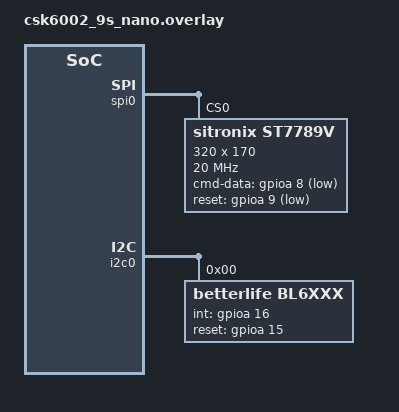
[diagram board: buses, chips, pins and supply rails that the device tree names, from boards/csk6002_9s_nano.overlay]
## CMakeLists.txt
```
# SPDX-License-Identifier: Apache-2.0

cmake_minimum_required(VERSION 3.20.0)

set(SUPPORT_BOARDS csk6012_nano csk6011a_nano)
if(NOT ${BOARD} IN_LIST SUPPORT_BOARDS)
    message("Please choose one of the following boards:")
    foreach(item ${SUPPORT_BOARDS})
        message(STATUS ${item})
    endforeach()
    message(FATAL_ERROR "\nThe project does not support the ${BOARD}")
endif()

find_package(Zephyr REQUIRED HINTS $ENV{ZEPHYR_BASE})
project(display)

target_sources(app PRIVATE src/main.c)
```

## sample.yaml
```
sample:
  description: Sample application for displays
  name: display_sample
tests:
  sample.board.csk6.display.kscan:
    platform_allow: csk6011a_nano
    tags: csk6
    harness: console
    timeout: 10
    harness_config:
      type: one_line
      regex:
        - "Display sample for"
```

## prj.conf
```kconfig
CONFIG_HEAP_MEM_POOL_SIZE=16384
CONFIG_LOG=y

CONFIG_GPIO=y

CONFIG_DISPLAY=y
CONFIG_SPI=y
CONFIG_ST7789V=y

CONFIG_KSCAN=y
CONFIG_I2C=y
CONFIG_KSCAN_FT5336=y
CONFIG_KSCAN_FT5336_INTERRUPT=y
```

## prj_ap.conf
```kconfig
CONFIG_HEAP_MEM_POOL_SIZE=16384
CONFIG_LOG=y
CONFIG_GPIO=y

CONFIG_SPI=y
CONFIG_SPI_CSK6=y

CONFIG_DISPLAY=y
CONFIG_ILI9341=y

CONFIG_DMA=y
CONFIG_DMA_CSK6=y
```

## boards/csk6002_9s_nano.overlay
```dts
&pinctrl{
        pinctrl_i2c0_scl_default: i2c0_scl_default{
                pinctrls = <I2C0_SCL_GPIOA_04>;
        };
        
        pinctrl_i2c0_sda_default: i2c0_sda_default{
                pinctrls = <I2C0_SDA_GPIOA_05>;
        };    

        pinctrl_spi0_sclk_default: spi0_sclk_default {
                pinctrls = < SPI0_CLK_GPIOA_19 >;
        };
        pinctrl_spi0_mosi_default: spi0_mosi_default {
                pinctrls = < SPI0_MOSI_GPIOA_18 >;
        };
        pinctrl_spi0_miso_default: spi0_miso_default {
                pinctrls = < SPI0_MISO_GPIOA_17 >;
        };
        pinctrl_spi0_cs_default: spi0_cs_default {
                pinctrls = < SPI0_CS_N_GPIOA_20 >;
        }; 
};

&spi0 {
status = "okay";
pinctrl-0 = <&pinctrl_spi0_sclk_default &pinctrl_spi0_mosi_default &pinctrl_spi0_miso_default &pinctrl_spi0_cs_default>; 
pinctrl-names = "default";

st7789v@0 {
    compatible = "sitronix,st7789v";
    label = "ST7789V";
    status = "okay";
    spi-max-frequency = <20000000>;
    reg = <0>;
    cmd-data-gpios = <&gpioa 8 1>;
    reset-gpios = <&gpioa 9 1>;
    width = <320>;
    height = <170>;
    x-offset = <0>;
    y-offset = <35>;
    // reg:0xBB
    vcom = <0x1e>;
    // reg:0xB7
    gctrl = <0x35>;
    // reg:0xC3
    vrhs = <0x0b>;
    // reg:0xC4
    vdvs = <0x20>;
    // reg:0x36
    mdac = <0xA3>;
    // reg:0x26
    gamma = <0x01>;
    // reg:0x3a
    colmod = <0x05>;
    // reg:0xc0
    lcm = <0x2c>;
    // reg:0xb2
    porch-param = [0c 0c 00 33 33];
    // reg:0xDF
    cmd2en-param = [5a 69 02 01];
    // reg:0xD0
    pwctrl1-param = [a4 a1];
    // reg:0xE0
    pvgam-param = [d0 06 0b 07 07 24 2e 32 46 37 13 13 2d 33];
    // reg:0xE1
    nvgam-param = [d0 02 06 09 08 05 29 44 42 38 14 14 2a 30];
    // reg:b0
    ram-param = [00 F0];
    // reg:b1
    rgb-param = [CD 08 14];
};
};

&i2c0 {
status = "okay";
pinctrl-0 = <&pinctrl_i2c0_scl_default &pinctrl_i2c0_sda_default>; 
pinctrl-names = "default";
bl6xxx@0 {
        compatible = "betterlife,bl6xxx";
        reg = <0>;
        label = "BL6XXX";
        status = "okay";
        int-gpios = <&gpioa 16 0>;
        reset-gpios = <&gpioa 15 0>;
};
};
```

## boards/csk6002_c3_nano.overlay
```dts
&pinctrl{
        pinctrl_i2c0_scl_default: i2c0_scl_default{
                pinctrls = <I2C0_SCL_GPIOA_04>;
        };
        
        pinctrl_i2c0_sda_default: i2c0_sda_default{
                pinctrls = <I2C0_SDA_GPIOA_05>;
        };    

        pinctrl_spi0_sclk_default: spi0_sclk_default {
                pinctrls = < SPI0_CLK_GPIOA_19 >;
        };
        pinctrl_spi0_mosi_default: spi0_mosi_default {
                pinctrls = < SPI0_MOSI_GPIOA_18 >;
        };
        pinctrl_spi0_miso_default: spi0_miso_default {
                pinctrls = < SPI0_MISO_GPIOA_17 >;
        };
        pinctrl_spi0_cs_default: spi0_cs_default {
                pinctrls = < SPI0_CS_N_GPIOA_20 >;
        }; 
};

&spi0 {
    status = "okay";
    pinctrl-0 = <&pinctrl_spi0_sclk_default &pinctrl_spi0_mosi_default &pinctrl_spi0_miso_default &pinctrl_spi0_cs_default>; 
    pinctrl-names = "default";
    
	st7789v@0 {
            compatible = "sitronix,st7789v";
            label = "ST7789V";
            status = "okay";
            spi-max-frequency = <20000000>;
            reg = <0>;
            cmd-data-gpios = <&gpioa 8 1>;
            reset-gpios = <&gpioa 9 1>;
            width = <320>;
            height = <170>;
            x-offset = <0>;
            y-offset = <35>;
            // reg:0xBB
            vcom = <0x1e>;
            // reg:0xB7
            gctrl = <0x35>;
            // reg:0xC3
            vrhs = <0x0b>;
            // reg:0xC4
            vdvs = <0x20>;
            // reg:0x36
            mdac = <0xA3>;
            // reg:0x26
            gamma = <0x01>;
            // reg:0x3a
            colmod = <0x05>;
            // reg:0xc0
            lcm = <0x2c>;
            // reg:0xb2
            porch-param = [0c 0c 00 33 33];
            // reg:0xDF
            cmd2en-param = [5a 69 02 01];
            // reg:0xD0
            pwctrl1-param = [a4 a1];
            // reg:0xE0
            pvgam-param = [d0 06 0b 07 07 24 2e 32 46 37 13 13 2d 33];
            // reg:0xE1
            nvgam-param = [d0 02 06 09 08 05 29 44 42 38 14 14 2a 30];
            // reg:b0
            ram-param = [00 F0];
            // reg:b1
            rgb-param = [CD 08 14];
	};
};

&i2c0 {
        status = "okay";
        pinctrl-0 = <&pinctrl_i2c0_scl_default &pinctrl_i2c0_sda_default>; 
        pinctrl-names = "default";
        bl6xxx@0 {
                compatible = "betterlife,bl6xxx";
                reg = <0>;
                label = "BL6XXX";
                status = "okay";
                int-gpios = <&gpioa 16 0>;
                reset-gpios = <&gpioa 15 0>;
        };
};
```

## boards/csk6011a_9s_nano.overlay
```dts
&pinctrl {
        pinctrl_i2c0_scl_default: i2c0_scl_default{
                pinctrls = <I2C0_SCL_GPIOA_04>;
        };
        
        pinctrl_i2c0_sda_default: i2c0_sda_default{
                pinctrls = <I2C0_SDA_GPIOA_05>;
        };    

        pinctrl_spi0_sclk_default: spi0_sclk_default {
                pinctrls = < SPI0_CLK_GPIOA_19 >;
        };
        pinctrl_spi0_mosi_default: spi0_mosi_default {
                pinctrls = < SPI0_MOSI_GPIOA_18 >;
        };
        pinctrl_spi0_miso_default: spi0_miso_default {
                pinctrls = < SPI0_MISO_GPIOA_17 >;
        };
        pinctrl_spi0_cs_default: spi0_cs_default {
                pinctrls = < SPI0_CS_N_GPIOA_20 >;
        }; 
};

&spi0 {
        status = "okay";
        pinctrl-0 = <&pinctrl_spi0_sclk_default &pinctrl_spi0_mosi_default &pinctrl_spi0_miso_default &pinctrl_spi0_cs_default>;
        pinctrl-names = "default";

        st7789v@0 {
                compatible = "sitronix,st7789v";
                label = "ST7789V";
                status = "okay";
                spi-max-frequency = <20000000>;
                reg = <0>;
                cmd-data-gpios = <&gpioa 8 1>;
                reset-gpios = <&gpioa 9 1>;
                width = <320>;
                height = <170>;
                x-offset = <0>;
                y-offset = <35>;
                // reg: 0xBB
                vcom = <0x1e>;
                // reg: 0xB7
                gctrl = <0x35>;
                // reg: 0xC3
                vrhs = <0x0b>;
                // reg: 0xC4
                vdvs = <0x20>;
                // reg: 0x36
                mdac = <0xA3>;
                // reg: 0x26
                gamma = <0x01>;
                // reg: 0x3a
                colmod = <0x05>;
                // reg: 0xc0
                lcm = <0x2c>;
                // reg: 0xb2
                porch-param = [ 0c 0c 00 33 33  ];
                // reg: 0xDF
                cmd2en-param = [ 5a 69 02 01  ];
                // reg: 0xD0
                pwctrl1-param = [ a4 a1  ];
                // reg: 0xE0
                pvgam-param = [ d0 06 0b 07 07 24 2e 32 46 37 13 13 2d 33  ];
                // reg: 0xE1
                nvgam-param = [ d0 02 06 09 08 05 29 44 42 38 14 14 2a 30  ];
                // reg: b0
                ram-param = [ 00 F0  ];
                // reg: b1
                rgb-param = [ CD 08 14  ];
        };
};

&i2c0 {
        status = "okay";
        pinctrl-0 = <&pinctrl_i2c0_scl_default &pinctrl_i2c0_sda_default>;
        pinctrl-names = "default";
        bl6xxx@0 {
                compatible = "betterlife,bl6xxx";
                reg = <0>;
                label = "BL6XXX";
                status = "okay";
                int-gpios = <&gpioa 16 0>;
                reset-gpios = <&gpioa 15 0>;
        };
};
```

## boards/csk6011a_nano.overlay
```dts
&csk6011a_nano_pinctrl {

    pinctrl_i2c0_scl_default: i2c0_scl_default{
        pinctrls = <I2C0_SCL_GPIOB_04>;
    };

    pinctrl_i2c0_sda_default: i2c0_sda_default{
        pinctrls = <I2C0_SDA_GPIOB_03>;
    };

    pinctrl_spi0_sclk_default: spi0_sclk_default {
        pinctrls = <&pinmuxb 1 6>;
    };
    pinctrl_spi0_mosi_default: spi0_mosi_default {
        pinctrls = <&pinmuxb 10 6>;
    };
    pinctrl_spi0_miso_default: spi0_miso_default {
        pinctrls = <&pinmuxa 17 6>;
    };
    pinctrl_spi0_cs_default: spi0_cs_default {
        pinctrls = <&pinmuxb 0 6>;
    };

};

&spi0 {
    status = "okay";
    pinctrl-0 = <&pinctrl_spi0_sclk_default &pinctrl_spi0_mosi_default &pinctrl_spi0_miso_default &pinctrl_spi0_cs_default>;
    pinctrl-names = "default";

    st7789v@0 {
        compatible = "sitronix,st7789v";
        label = "ST7789V";
        status = "okay";
        spi-max-frequency = <20000000>;
        reg = <0>;
        cmd-data-gpios = <&gpiob 2 1>;
        reset-gpios = <&gpioa 15 1>;
        width = <320>;
        height = <240>;
        x-offset = <0>;
        y-offset = <0>;
        // reg: 0xBB
        vcom = <0x1e>;
        // reg: 0xB7
        gctrl = <0x35>;
        // reg: 0xC3
        vrhs = <0x0b>;
        // reg: 0xC4
        vdvs = <0x20>;
        // reg: 0x36
        mdac = <0xA3>;
        // reg: 0x26
        gamma = <0x01>;
        // reg: 0x3a
        colmod = <0x05>;
        // reg: 0xc0
        lcm = <0x3c>;
        // reg: 0xb2
        porch-param = [ 0c 0c 00 33 33  ];
        // reg: 0xDF
        cmd2en-param = [ 5a 69 02 01  ];
        // reg: 0xD0
        pwctrl1-param = [ a4 a1  ];
        // reg: 0xE0
        pvgam-param = [ d0 06 0b 07 07 24 2e 32 46 37 13 13 2d 33  ];
        // reg: 0xE1
        nvgam-param = [ d0 02 06 09 08 05 29 44 42 38 14 14 2a 30  ];
        // reg: b0
        ram-param = [ 00 F0  ];
        // reg: b1
        rgb-param = [ CD 08 14  ];
    };
};

&i2c0 {
        status = "okay";
        pinctrl-0 = <&pinctrl_i2c0_scl_default &pinctrl_i2c0_sda_default>; 
        pinctrl-names = "default";
        ft5336@0 {
                compatible = "focaltech,ft5336";
                reg = <56>;
                label = "FT5336";
                status = "okay";
                int-gpios = <&gpiob 11 0>;
        };
};
```

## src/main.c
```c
/*
 * Copyright (c) 2023 Anhui(Shenzhen) Listenai Co., Ltd.
 *
 * SPDX-License-Identifier: Apache-2.0
 */

#include <logging/log.h>
LOG_MODULE_REGISTER(sample, LOG_LEVEL_INF);

#include <device.h>
#include <drivers/display.h>
#include <drivers/kscan.h>
#include <zephyr.h>

#if DT_NODE_HAS_STATUS(DT_INST(0, ilitek_ili9340), okay)
#define DISPLAY_DEV_NAME DT_LABEL(DT_INST(0, ilitek_ili9340))
#endif

#if DT_NODE_HAS_STATUS(DT_INST(0, solomon_ssd1306fb), okay)
#define DISPLAY_DEV_NAME DT_LABEL(DT_INST(0, solomon_ssd1306fb))
#endif

#if DT_NODE_HAS_STATUS(DT_INST(0, solomon_ssd16xxfb), okay)
#define DISPLAY_DEV_NAME DT_LABEL(DT_INST(0, solomon_ssd16xxfb))
#endif

#if DT_NODE_HAS_STATUS(DT_INST(0, sitronix_st7789v), okay)
#define DISPLAY_DEV_NAME DT_LABEL(DT_INST(0, sitronix_st7789v))
#endif

#if DT_NODE_HAS_STATUS(DT_INST(0, sitronix_st7735r), okay)
#define DISPLAY_DEV_NAME DT_LABEL(DT_INST(0, sitronix_st7735r))
#endif

#if DT_NODE_HAS_STATUS(DT_INST(0, fsl_imx6sx_lcdif), okay)
#define DISPLAY_DEV_NAME DT_LABEL(DT_INST(0, fsl_imx6sx_lcdif))
#endif

#if DT_NODE_HAS_STATUS(DT_INST(0, betterlife_bl6xxx), okay)
#define DISPLAY_KSAN_DEV_NAME DT_LABEL(DT_INST(0, betterlife_bl6xxx))
#endif

#if DT_NODE_HAS_STATUS(DT_INST(0, focaltech_ft5336), okay)
#define DISPLAY_KSAN_DEV_NAME DT_LABEL(DT_INST(0, focaltech_ft5336))
#endif

#ifdef CONFIG_SDL_DISPLAY_DEV_NAME
#define DISPLAY_DEV_NAME CONFIG_SDL_DISPLAY_DEV_NAME
#endif

#ifdef CONFIG_DUMMY_DISPLAY_DEV_NAME
#define DISPLAY_DEV_NAME CONFIG_DUMMY_DISPLAY_DEV_NAME
#endif

#ifdef CONFIG_ARCH_POSIX
#include "posix_board_if.h"
#endif

#ifdef CONFIG_ARCH_POSIX
#define RETURN_FROM_MAIN(exit_code) posix_exit_main(exit_code)
#else
#define RETURN_FROM_MAIN(exit_code) return
#endif

enum corner {
	TOP_LEFT,
	TOP_RIGHT,
	BOTTOM_RIGHT,
	BOTTOM_LEFT
};

typedef void (*fill_buffer)(enum corner corner, uint8_t grey, uint8_t *buf, size_t buf_size);

#ifdef CONFIG_ARCH_POSIX
static void posix_exit_main(int exit_code)
{
#if CONFIG_TEST
	if (exit_code == 0) {
		LOG_INF("PROJECT EXECUTION SUCCESSFUL");
	} else {
		LOG_INF("PROJECT EXECUTION FAILED");
	}
#endif
	posix_exit(exit_code);
}
#endif

static void k_callback(const struct device *dev, uint32_t row, uint32_t col, bool pressed)
{
	ARG_UNUSED(dev);
	printk("row = %u col = %u, pressed:%s\n", row, col, pressed ? "TRUE" : "FLASE");
}

void kscan_init(void)
{
	const struct device *kscan_dev = device_get_binding(DISPLAY_KSAN_DEV_NAME);

	if (!device_is_ready(kscan_dev)) {
		LOG_ERR("kscan device %s not ready", kscan_dev->name);
		return;
	}

	kscan_config(kscan_dev, k_callback);
	kscan_enable_callback(kscan_dev);
}

static void fill_buffer_argb8888(enum corner corner, uint8_t grey, uint8_t *buf, size_t buf_size)
{
	uint32_t color = 0;

	switch (corner) {
	case TOP_LEFT:
		color = 0x00FF0000u;
		break;
	case TOP_RIGHT:
		color = 0x0000FF00u;
		break;
	case BOTTOM_RIGHT:
		color = 0x000000FFu;
		break;
	case BOTTOM_LEFT:
		color = grey << 16 | grey << 8 | grey;
		break;
	}

	for (size_t idx = 0; idx < buf_size; idx += 4) {
		*((uint32_t *)(buf + idx)) = color;
	}
}

static void fill_buffer_rgb888(enum corner corner, uint8_t grey, uint8_t *buf, size_t buf_size)
{
	uint32_t color = 0;

	switch (corner) {
	case TOP_LEFT:
		color = 0x00FF0000u;
		break;
	case TOP_RIGHT:
		color = 0x0000FF00u;
		break;
	case BOTTOM_RIGHT:
		color = 0x000000FFu;
		break;
	case BOTTOM_LEFT:
		color = grey << 16 | grey << 8 | grey;
		break;
	}

	for (size_t idx = 0; idx < buf_size; idx += 3) {
		*(buf + idx + 0) = color >> 16;
		*(buf + idx + 1) = color >> 8;
		*(buf + idx + 2) = color >> 0;
	}
}

static uint16_t get_rgb565_color(enum corner corner, uint8_t grey)
{
	uint16_t color = 0;
	uint16_t grey_5bit;

	switch (corner) {
	case TOP_LEFT:
		color = 0xF800u;
		break;
	case TOP_RIGHT:
		color = 0x07E0u;
		break;
	case BOTTOM_RIGHT:
		color = 0x001Fu;
		break;
	case BOTTOM_LEFT:
		grey_5bit = grey & 0x1Fu;
		/* shift the green an extra bit, it has 6 bits */
		color = grey_5bit << 11 | grey_5bit << (5 + 1) | grey_5bit;
		break;
	}
	return color;
}

static void fill_buffer_rgb565(enum corner corner, uint8_t grey, uint8_t *buf, size_t buf_size)
{
	uint16_t color = get_rgb565_color(corner, grey);

	for (size_t idx = 0; idx < buf_size; idx += 2) {
		*(buf + idx + 0) = (color >> 8) & 0xFFu;
		*(buf + idx + 1) = (color >> 0) & 0xFFu;
	}
}

static void fill_buffer_bgr565(enum corner corner, uint8_t grey, uint8_t *buf, size_t buf_size)
{
	uint16_t color = get_rgb565_color(corner, grey);

	for (size_t idx = 0; idx < buf_size; idx += 2) {
		*(uint16_t *)(buf + idx) = color;
	}
}

static void fill_buffer_mono(enum corner corner, uint8_t grey, uint8_t *buf, size_t buf_size)
{
	uint16_t color;

	switch (corner) {
	case BOTTOM_LEFT:
		color = (grey & 0x01u) ? 0xFFu : 0x00u;
		break;
	default:
		color = 0;
		break;
	}

	memset(buf, color, buf_size);
}

void main(void)
{
	size_t x;
	size_t y;
	size_t rect_w;
	size_t rect_h;
	size_t h_step;
	size_t scale;
	size_t grey_count;
	uint8_t *buf;
	int32_t grey_scale_sleep;
	const struct device *display_dev;
	struct display_capabilities capabilities;
	struct display_buffer_descriptor buf_desc;
	size_t buf_size = 0;
	fill_buffer fill_buffer_fnc = NULL;

	LOG_INF("Display sample for %s", DISPLAY_DEV_NAME);

	kscan_init();

	display_dev = device_get_binding(DISPLAY_DEV_NAME);

	if (display_dev == NULL) {
		LOG_ERR("Device %s not found. Aborting sample.", DISPLAY_DEV_NAME);
		RETURN_FROM_MAIN(1);
	}

	display_get_capabilities(display_dev, &capabilities);

	if (capabilities.screen_info & SCREEN_INFO_MONO_VTILED) {
		rect_w = 16;
		rect_h = 8;
	} else {
		rect_w = 2;
		rect_h = 1;
	}

	h_step = rect_h;
	scale = (capabilities.x_resolution / 8) / rect_h;

	rect_w *= scale;
	rect_h *= scale;

	if (capabilities.screen_info & SCREEN_INFO_EPD) {
		grey_scale_sleep = 10000;
	} else {
		grey_scale_sleep = 100;
	}

	buf_size = rect_w * rect_h;

	if (buf_size < (capabilities.x_resolution * h_step)) {
		buf_size = capabilities.x_resolution * h_step;
	}

	switch (capabilities.current_pixel_format) {
	case PIXEL_FORMAT_ARGB_8888:
		fill_buffer_fnc = fill_buffer_argb8888;
		buf_size *= 4;
		break;
	case PIXEL_FORMAT_RGB_888:
		fill_buffer_fnc = fill_buffer_rgb888;
		buf_size *= 3;
		break;
	case PIXEL_FORMAT_RGB_565:
		fill_buffer_fnc = fill_buffer_rgb565;
		buf_size *= 2;
		break;
	case PIXEL_FORMAT_BGR_565:
		fill_buffer_fnc = fill_buffer_bgr565;
		buf_size *= 2;
		break;
	case PIXEL_FORMAT_MONO01:
	case PIXEL_FORMAT_MONO10:
		fill_buffer_fnc = fill_buffer_mono;
		buf_size /= 8;
		break;
	default:
		LOG_ERR("Unsupported pixel format. Aborting sample.");
		RETURN_FROM_MAIN(1);
	}

	buf = k_malloc(buf_size);

	if (buf == NULL) {
		LOG_ERR("Could not allocate memory. Aborting sample.");
		RETURN_FROM_MAIN(1);
	}

	(void)memset(buf, 0xFFu, buf_size);

	buf_desc.buf_size = buf_size;
	buf_desc.pitch = capabilities.x_resolution;
	buf_desc.width = capabilities.x_resolution;
	buf_desc.height = h_step;

	for (int idx = 0; idx < capabilities.y_resolution; idx += h_step) {
		display_write(display_dev, 0, idx, &buf_desc, buf);
	}

	buf_desc.pitch = rect_w;
	buf_desc.width = rect_w;
	buf_desc.height = rect_h;

	fill_buffer_fnc(TOP_LEFT, 0, buf, buf_size);
	x = 0;
	y = 0;
	display_write(display_dev, x, y, &buf_desc, buf);

	fill_buffer_fnc(TOP_RIGHT, 0, buf, buf_size);
	x = capabilities.x_resolution - rect_w;
	y = 0;
	display_write(display_dev, x, y, &buf_desc, buf);

	fill_buffer_fnc(BOTTOM_RIGHT, 0, buf, buf_size);
	x = capabilities.x_resolution - rect_w;
	y = capabilities.y_resolution - rect_h;
	display_write(display_dev, x, y, &buf_desc, buf);

	display_blanking_off(display_dev);

	grey_count = 0;
	x = 0;
	y = capabilities.y_resolution - rect_h;

	while (1) {
		fill_buffer_fnc(BOTTOM_LEFT, grey_count, buf, buf_size);
		display_write(display_dev, x, y, &buf_desc, buf);
		++grey_count;
		k_msleep(grey_scale_sleep);
#if CONFIG_TEST
		if (grey_count >= 1024) {
			break;
		}
#endif
	}

	RETURN_FROM_MAIN(0);
}
```
